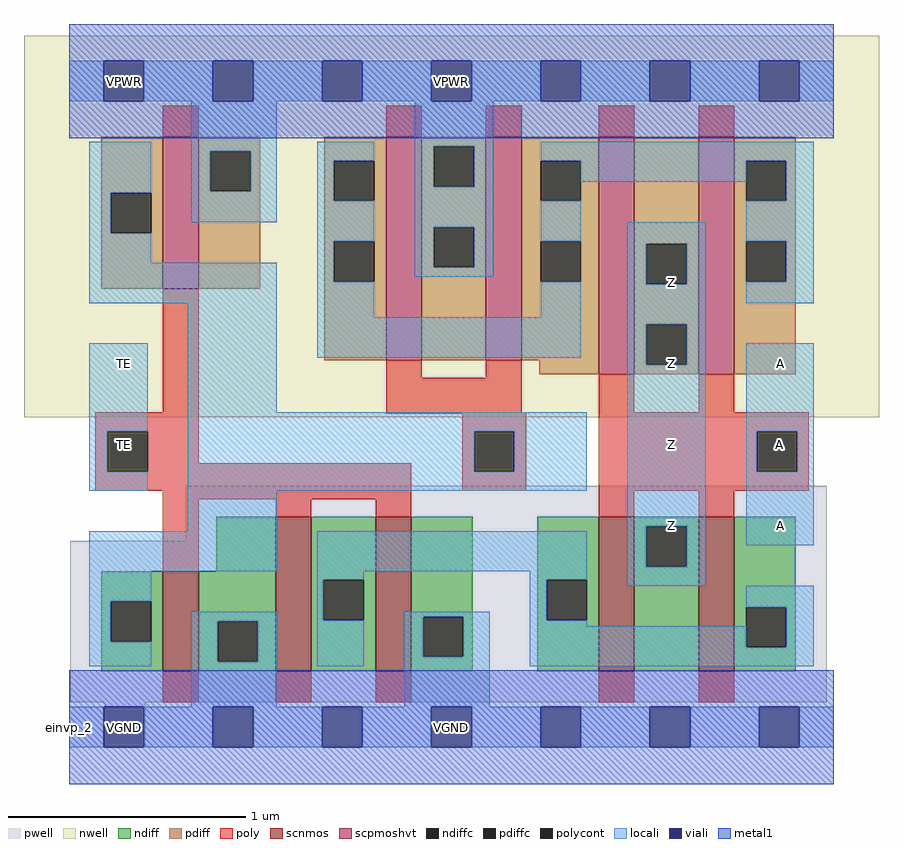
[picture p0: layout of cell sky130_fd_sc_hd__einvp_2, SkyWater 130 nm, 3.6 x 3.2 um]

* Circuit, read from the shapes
.subckt sky130_fd_sc_hd__einvp_2 A TE VGND VNB VPB VPWR Z
XM1 VGND TE n1 VNB sky130_fd_pr__nfet_01v8 w=0.42 l=0.15
XM2 n2 TE VGND VNB sky130_fd_pr__nfet_01v8 w=0.65 l=0.15 m=2
XM3 Z A n2 VNB sky130_fd_pr__nfet_01v8 w=0.65 l=0.15 m=2
XM4 VPWR TE n1 VPB sky130_fd_pr__pfet_01v8_hvt w=0.64 l=0.15
XM5 VPWR n1 n3 VPB sky130_fd_pr__pfet_01v8_hvt w=0.94 l=0.15 m=2
XM6 Z A n3 VPB sky130_fd_pr__pfet_01v8_hvt w=1 l=0.15 m=2
.ends

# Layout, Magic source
magic
tech sky130B
magscale 1 2
<< nwell >>
rect -38 261 682 582
<< pwell >>
rect 98 157 638 203
rect 1 21 638 157
rect 30 -17 64 21
<< scnmos >>
rect 79 47 109 131
rect 174 47 204 177
rect 258 47 288 177
rect 446 47 476 177
rect 530 47 560 177
<< scpmoshvt >>
rect 79 369 109 497
rect 267 309 297 497
rect 351 309 381 497
rect 446 297 476 497
rect 530 297 560 497
<< ndiff >>
rect 124 131 174 177
rect 27 106 79 131
rect 27 72 35 106
rect 69 72 79 106
rect 27 47 79 72
rect 109 89 174 131
rect 109 55 125 89
rect 159 55 174 89
rect 109 47 174 55
rect 204 124 258 177
rect 204 90 214 124
rect 248 90 258 124
rect 204 47 258 90
rect 288 93 340 177
rect 288 59 298 93
rect 332 59 340 93
rect 288 47 340 59
rect 394 124 446 177
rect 394 90 402 124
rect 436 90 446 124
rect 394 47 446 90
rect 476 169 530 177
rect 476 135 486 169
rect 520 135 530 169
rect 476 47 530 135
rect 560 101 612 177
rect 560 67 570 101
rect 604 67 612 101
rect 560 47 612 67
<< pdiff >>
rect 27 450 79 497
rect 27 416 35 450
rect 69 416 79 450
rect 27 369 79 416
rect 109 485 161 497
rect 109 451 119 485
rect 153 451 161 485
rect 109 369 161 451
rect 215 477 267 497
rect 215 443 223 477
rect 257 443 267 477
rect 215 409 267 443
rect 215 375 223 409
rect 257 375 267 409
rect 215 309 267 375
rect 297 489 351 497
rect 297 455 307 489
rect 341 455 351 489
rect 297 421 351 455
rect 297 387 307 421
rect 341 387 351 421
rect 297 309 351 387
rect 381 477 446 497
rect 381 443 397 477
rect 431 443 446 477
rect 381 409 446 443
rect 381 375 397 409
rect 431 375 446 409
rect 381 309 446 375
rect 396 297 446 309
rect 476 407 530 497
rect 476 373 486 407
rect 520 373 530 407
rect 476 339 530 373
rect 476 305 486 339
rect 520 305 530 339
rect 476 297 530 305
rect 560 477 612 497
rect 560 443 570 477
rect 604 443 612 477
rect 560 409 612 443
rect 560 375 570 409
rect 604 375 612 409
rect 560 297 612 375
<< ndiffc >>
rect 35 72 69 106
rect 125 55 159 89
rect 214 90 248 124
rect 298 59 332 93
rect 402 90 436 124
rect 486 135 520 169
rect 570 67 604 101
<< pdiffc >>
rect 35 416 69 450
rect 119 451 153 485
rect 223 443 257 477
rect 223 375 257 409
rect 307 455 341 489
rect 307 387 341 421
rect 397 443 431 477
rect 397 375 431 409
rect 486 373 520 407
rect 486 305 520 339
rect 570 443 604 477
rect 570 375 604 409
<< poly >>
rect 79 497 109 523
rect 267 497 297 523
rect 351 497 381 523
rect 446 497 476 523
rect 530 497 560 523
rect 79 265 109 369
rect 22 249 109 265
rect 267 294 297 309
rect 351 294 381 309
rect 267 265 381 294
rect 446 265 476 297
rect 530 265 560 297
rect 267 264 385 265
rect 22 215 32 249
rect 66 222 109 249
rect 331 249 385 264
rect 66 215 288 222
rect 22 199 288 215
rect 331 215 341 249
rect 375 215 385 249
rect 331 199 385 215
rect 446 249 623 265
rect 446 215 579 249
rect 613 215 623 249
rect 446 199 623 215
rect 79 192 288 199
rect 79 131 109 192
rect 174 177 204 192
rect 258 177 288 192
rect 446 177 476 199
rect 530 177 560 199
rect 79 21 109 47
rect 174 21 204 47
rect 258 21 288 47
rect 446 21 476 47
rect 530 21 560 47
<< polycont >>
rect 32 215 66 249
rect 341 215 375 249
rect 579 215 613 249
<< locali >>
rect 0 527 29 561
rect 63 527 121 561
rect 155 527 213 561
rect 247 527 305 561
rect 339 527 397 561
rect 431 527 489 561
rect 523 527 581 561
rect 615 527 644 561
rect 17 450 69 493
rect 17 416 35 450
rect 103 485 175 527
rect 103 451 119 485
rect 153 451 175 485
rect 103 425 175 451
rect 209 477 257 493
rect 209 443 223 477
rect 17 391 69 416
rect 209 409 257 443
rect 17 357 175 391
rect 17 249 66 323
rect 17 215 32 249
rect 17 199 66 215
rect 100 265 175 357
rect 209 375 223 409
rect 291 489 357 527
rect 291 455 307 489
rect 341 455 357 489
rect 291 421 357 455
rect 291 387 307 421
rect 341 387 357 421
rect 291 379 357 387
rect 397 477 627 493
rect 431 459 570 477
rect 397 409 431 443
rect 604 443 627 477
rect 209 345 257 375
rect 397 345 431 375
rect 209 311 431 345
rect 470 407 536 425
rect 470 373 486 407
rect 520 373 536 407
rect 470 339 536 373
rect 570 409 627 443
rect 604 375 627 409
rect 570 357 627 375
rect 470 305 486 339
rect 520 305 536 339
rect 100 249 436 265
rect 100 215 341 249
rect 375 215 436 249
rect 100 199 436 215
rect 100 165 175 199
rect 470 169 536 305
rect 17 131 175 165
rect 209 131 436 165
rect 17 106 69 131
rect 17 72 35 106
rect 209 124 248 131
rect 17 51 69 72
rect 103 89 175 97
rect 103 55 125 89
rect 159 55 175 89
rect 103 17 175 55
rect 209 90 214 124
rect 388 124 436 131
rect 209 51 248 90
rect 282 93 354 97
rect 282 59 298 93
rect 332 59 354 93
rect 282 17 354 59
rect 388 90 402 124
rect 470 135 486 169
rect 520 135 536 169
rect 570 249 627 323
rect 570 215 579 249
rect 613 215 627 249
rect 570 153 627 215
rect 470 119 536 135
rect 388 85 436 90
rect 570 101 627 119
rect 388 67 570 85
rect 604 67 627 101
rect 388 51 627 67
rect 0 -17 29 17
rect 63 -17 121 17
rect 155 -17 213 17
rect 247 -17 305 17
rect 339 -17 397 17
rect 431 -17 489 17
rect 523 -17 581 17
rect 615 -17 644 17
<< viali >>
rect 29 527 63 561
rect 121 527 155 561
rect 213 527 247 561
rect 305 527 339 561
rect 397 527 431 561
rect 489 527 523 561
rect 581 527 615 561
rect 29 -17 63 17
rect 121 -17 155 17
rect 213 -17 247 17
rect 305 -17 339 17
rect 397 -17 431 17
rect 489 -17 523 17
rect 581 -17 615 17
<< metal1 >>
rect 0 561 644 592
rect 0 527 29 561
rect 63 527 121 561
rect 155 527 213 561
rect 247 527 305 561
rect 339 527 397 561
rect 431 527 489 561
rect 523 527 581 561
rect 615 527 644 561
rect 0 496 644 527
rect 0 17 644 48
rect 0 -17 29 17
rect 63 -17 121 17
rect 155 -17 213 17
rect 247 -17 305 17
rect 339 -17 397 17
rect 431 -17 489 17
rect 523 -17 581 17
rect 615 -17 644 17
rect 0 -48 644 -17
<< labels >>
flabel locali s 582 153 616 187 0 FreeSans 200 0 0 0 A
port 1 nsew signal input
flabel locali s 582 289 616 323 0 FreeSans 200 0 0 0 A
port 1 nsew signal input
flabel locali s 581 221 615 255 0 FreeSans 200 0 0 0 A
port 1 nsew signal input
flabel locali s 490 153 524 187 0 FreeSans 200 0 0 0 Z
port 7 nsew signal output
flabel locali s 490 221 524 255 0 FreeSans 200 0 0 0 Z
port 7 nsew signal output
flabel locali s 490 289 524 323 0 FreeSans 200 0 0 0 Z
port 7 nsew signal output
flabel locali s 490 357 524 391 0 FreeSans 200 0 0 0 Z
port 7 nsew signal output
flabel locali s 30 221 64 255 0 FreeSans 200 0 0 0 TE
port 2 nsew signal input
flabel locali s 30 289 64 323 0 FreeSans 200 0 0 0 TE
port 2 nsew signal input
flabel metal1 s 30 -17 64 17 0 FreeSans 200 0 0 0 VGND
port 3 nsew ground bidirectional abutment
flabel metal1 s 30 527 64 561 0 FreeSans 200 0 0 0 VPWR
port 6 nsew power bidirectional abutment
flabel nwell s 30 527 64 561 0 FreeSans 200 0 0 0 VPB
port 5 nsew power bidirectional
flabel pwell s 30 -17 64 17 0 FreeSans 200 0 0 0 VNB
port 4 nsew ground bidirectional
rlabel comment s 0 0 0 0 4 einvp_2
rlabel metal1 s 0 -48 644 48 1 VGND
port 3 nsew ground bidirectional abutment
rlabel metal1 s 0 496 644 592 1 VPWR
port 6 nsew power bidirectional abutment
<< properties >>
string FIXED_BBOX 0 0 644 544
string GDS_END 2030880
string GDS_FILE $PDKPATH/libs.ref/sky130_fd_sc_hd/gds/sky130_fd_sc_hd.gds
string GDS_START 2024692
string LEFclass CORE
string LEFsite unithd
string LEFsymmetry X Y R90
string path 0.000 0.000 16.100 0.000 
<< end >>
